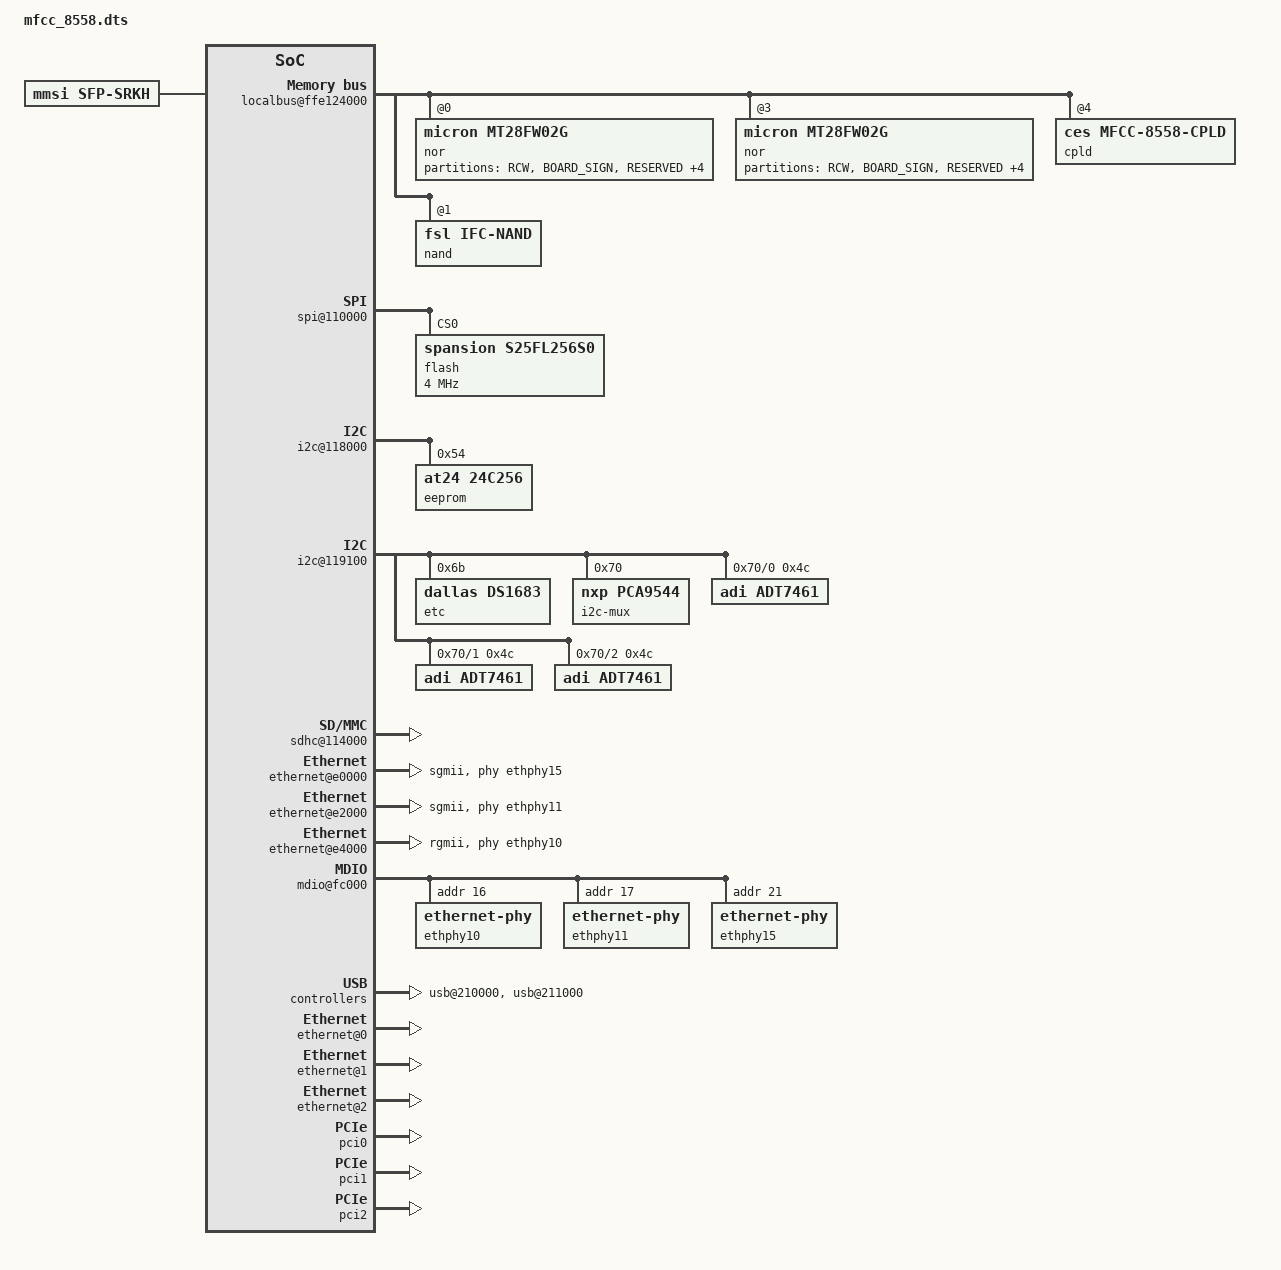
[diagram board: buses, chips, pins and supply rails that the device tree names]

/dts-v1/;

/include/ "mfcc_855x.dtsi"

/{
	chosen {
		bootargs = "console=ttyS0,115200";

		/* reserve 256MB for rootfs */
		linux,initrd-start = <0x6c000000>;
		linux,initrd-end =   <0x7bffffff>;
	};

	cpus {
		PowerPC,e6500@0 {
			clock-frequency = <1800000000>;
			timebase-frequency = <37500000>;
			bus-frequency = <600000000>;
		};
		PowerPC,e6500@1 {
			clock-frequency = <1800000000>;
			timebase-frequency = <37500000>;
			bus-frequency = <600000000>;
			enable-method = "spin-table";
			cpu-release-addr = <0 0xfffffc40>;
		};
		PowerPC,e6500@2 {
			clock-frequency = <1800000000>;
			timebase-frequency = <37500000>;
			bus-frequency = <600000000>;
			enable-method = "spin-table";
			cpu-release-addr = <0 0xfffffc80>;
		};
		PowerPC,e6500@3 {
			clock-frequency = <1800000000>;
			timebase-frequency = <37500000>;
			bus-frequency = <600000000>;
			enable-method = "spin-table";
			cpu-release-addr = <0 0xfffffcc0>;
		};
	};

	localbus@ffe124000 {

		/*        CS#   child          size */
		ranges = <
			/* NOR 256 MB */
			0 0 2 0xf0000000 0x10000000
			/* nand 4 GB */
			1 0 2 0x60000000 0x10000
			/* NOR 256 MB */
			3 0 2 0xb0000000 0x10000000
			/* BMC FPGA */
			4 0 2 0x70000000 0x100000>;

		/* IFC chip select configuration
		 *     CS# CSPR       CSOR       CSOR_EXT   AMASK
		 *         FTIM0      FTIM1      FTIM2      FTIM3
		 */
		config = <
			/* second NOR */
			3  0x0101     0x0000000c 0x00000000 0xf0000000
			   0x20020002 0x1A000A0A 0x02083810 0x00000000

			/* NAND */
			1  0x0083     0x9518c200 0x000001c0 0xffff0000
			   0x0e10070a 0x1c3d0d10 0x01a05025 0x1f000000
		>;

		/* 256 MB NOR flash, booting flash */
		nor@0,0 {
			compatible = "micron,mt28fw02g", "cfi-flash";
			bank-width = <2>;
			reg = <0 0 0x10000000>;
			#address-cells = <1>;
			#size-cells = <1>;
			multi-die-count = <2>;

			partition@0 {
				reg = <0 0x100000>;
				label = "RCW";
			};
			partition@100000 {
				reg = <0x100000 0x80000>;
				label = "BOARD_SIGN";

				/*
				 * The format of this is:
				 *  signature: 16 bytes ("CES")
				 *  module_type - 128 bytes
				 *  serial - 128 bytes
				 *  mac addresses - 3 addresses, in a hex
				 *     string format, with 4 bytes of padding.
				 *     total of 16 bytes for each address.
				 */
				macaddr: macaddr@110 {
					 #mtd-mac-address-cells = <1>;
					 mac-addr-string = <1>;
				};
			};
			partition@180000 {
				reg = <0x180000 0x200000>;
				label = "RESERVED";
			};
			partition@380000 {
				reg = <0x380000 0x40000>;
				label = "IMGT";
			};
			partition@3c0000 {
				reg = <0x3c0000 0x40000>;
				label = "VPKT";
			};
			partition@400000 {
				reg = <0x400000 0xfb00000>;
				label = "USER";
			};
			partition@ff00000 {
				reg = <0xff00000 0x100000>;
				label = "BL";
			};
		};

		/* 256 MB second NOR flash */
		nor@3,0 {
			compatible = "micron,mt28fw02g", "cfi-flash";
			bank-width = <2>;
			reg = <3 0 0x10000000>;
			#address-cells = <1>;
			#size-cells = <1>;
			multi-die-count = <2>;

			partition@0 {
				reg = <0 0x100000>;
				label = "RCW";
			};
			partition@100000 {
				reg = <0x100000 0x80000>;
				label = "BOARD_SIGN";
			};
			partition@180000 {
				reg = <0x180000 0x200000>;
				label = "RESERVED";
			};
			partition@380000 {
				reg = <0x380000 0x40000>;
				label = "IMGT";
			};
			partition@3c0000 {
				reg = <0x3c0000 0x40000>;
				label = "VPKT";
			};
			partition@400000 {
				reg = <0x400000 0xfb00000>;
				label = "USER";
			};
			partition@ff00000 {
				reg = <0xff00000 0x100000>;
				label = "BL";
			};
		};

		cpld@4,0 {
			compatible = "ces,mfcc-8558-cpld";
			reg = <4 0 0x100000>;
			status = "okay";
		};

		nand@1,0 {
			#address-cells = <1>;
			#size-cells = <1>;
			compatible = "fsl,ifc-nand";
			reg = <0x1 0x0 0x10000>;
		};
	};

	soc@ffe000000 {

		sfp-srkh {
			compatible = "mmsi,sfp-srkh";
		};

		spi@110000 {
			flash@0 {
				reg = <0>;
				compatible = "spansion,s25fl256s0", "jedec,spi-nor";
				spi-max-frequency = <4000000>;
				#address-cells = <1>;
				#size-cells = <1>;

			};
		};

		i2c@118000 {
			eeprom@54 {
				compatible = "at24,24c256";
				reg = <0x54>;
			};
		};

		i2c@119100 {
			etc@6b {
				compatible = "dallas,ds1683";
				reg = <0x6b>;
			};

			i2c-mux@70 {
				compatible = "nxp,pca9544";
				#address-cells = <1>;
				#size-cells = <0>;
				reg = <0x70>;

				i2c@0 {
					#address-cells = <1>;
					#size-cells = <0>;
					reg = <0>;

					adt7461@4c {
						compatible = "adi,adt7461";
						reg = <0x4c>;
					};
				};

				i2c@1 {
					#address-cells = <1>;
					#size-cells = <0>;
					reg = <1>;

					adt7461@4c {
						compatible = "adi,adt7461";
						reg = <0x4c>;
					};
				};

				i2c@2 {
					#address-cells = <1>;
					#size-cells = <0>;
					reg = <2>;

					adt7461@4c {
						compatible = "adi,adt7461";
						reg = <0x4c>;
					};
				};
			};
		};

		sdhc@114000 {
			clock-frequency = <300000000>;
			status = "okay";
		};
		fman@400000 {
			clock-frequency = <700000000>;
			fman-firmware {
				compatible = "fsl,fman-firmware";
				fsl,firmware = <
					/include/ "fman_fw.hex"
				>;
			};

			ethernet@e0000 {
				phy-handle = <&ethphy15>;
				phy-connection-type = "sgmii";
				mtd-mac-address = <&macaddr 0x110>;
				status = "okay";
			};
			ethernet@e2000 {
				phy-handle = <&ethphy11>;
				phy-connection-type = "sgmii";
				fixed-link = <1 1 1000 0 0>;
				mtd-mac-address = <&macaddr 0x120>;
				status = "okay";
			};
			ethernet@e4000 {
				phy-handle = <&ethphy10>;
				phy-connection-type = "rgmii";
				mtd-mac-address = <&macaddr 0x130>;
				status = "okay";
			};
			mdio@fc000 {
				status = "okay";
				ethphy10: ethernet-phy@10 {
					reg = <16>;
				};
				ethphy11: ethernet-phy@11 {
					reg = <17>;
				};
				ethphy15: ethernet-phy@15 {
					reg = <21>;
				};
			};
		};
		usb@210000 {
			status = "okay";
		};
		usb@211000 {
			status = "okay";
		};
		qman@318000 {
			clock-frequency = <300000000>;
			fsl,qman-fqd = <0 0x7e000000 0 0x1000000>;
			fsl,qman-pfdr = <0 0x7d000000 0 0x1000000>;
		};
		bman@31a000 {
			clock-frequency = <300000000>;
			fsl,bman-fbpr = <0 0x7c000000 0 0x1000000>;
		};
	};

	fsl,dpaa {
		ethernet@0 {
			status = "okay";
		};
		ethernet@1 {
			status = "okay";
		};
		ethernet@2 {
			status = "okay";
		};
	};

	pci0: pcie@ffe240000 {
		compatible = "fsl,t2080-pcie", "fsl,qoriq-pcie-v3.0", "fsl,qoriq-pcie";
		device_type = "pci";
		#size-cells = <2>;
		#address-cells = <3>;
		bus-range = <0 255>;
		interrupts = <20 2 0 0>;
		fsl,msi = <&msi0>;
		fsl,iommu-parent = <&pamu0>;

		reg = <0xf 0xfe240000 0x0 0x10000>;
		ranges = <0x01000000 0x00000000 0x00000000
		                     0x00000007 0x00000000
		                     0x00000000 0x00010000
		          /* PCIe0 I/O Space 0_0000_0000 -> 7_0000_0000 - 7_0000_ffff */
		          0x02000000 0x00000003 0x00000000
		                     0x00000003 0x00000000
		                     0x00000001 0x00000000
		          /* PCIe0 Mem Space 3_0000_0000 -> 3_0000_0000 - 3_ffff_ffff */
		          0x43000000 0x00000008 0x00000000
		                     0x00000008 0x00000000
		                     0x00000002 0x00000000>;
		          /* PCIe0 Pref. Mem 8_0000_0000 -> 8_0000_0000 - 9_ffff_ffff */

		pcie@0 {
			device_type = "pci";
			reg = <0 0 0 0 0>;
			#interrupt-cells = <1>;
			#size-cells = <2>;
			#address-cells = <3>;
			interrupts = <20 2 0 0>;
			interrupt-map-mask = <0xf800 0 0 7>;
			interrupt-map = </* IDSEL 0x0 */
			                 0000 0 0 1 &mpic 40 1 0 0
			                 0000 0 0 2 &mpic  1 1 0 0
			                 0000 0 0 3 &mpic  2 1 0 0
			                 0000 0 0 4 &mpic  3 1 0 0
			>;
			ranges = <0x01000000 0x00000000 0x00000000
			          0x01000000 0x00000000 0x00000000
			                     0x00000000 0x00010000
			          /* PCIe to PCIe transparent: I/O space */
			          0x02000000 0x00000003 0x00000000
			          0x02000000 0x00000003 0x00000000
			                     0x00000001 0x00000000
			          /* PCIe to PCIe transparent: memory space */
			          0x43000000 0x00000008 0x00000000
			          0x43000000 0x00000008 0x00000000
			                     0x00000002 0x00000000>;
			          /* PCIe to PCIe transparent: prefetchable memory space */
		};
	};

	pci1: pcie@ffe250000 {
		compatible = "fsl,t2080-pcie", "fsl,qoriq-pcie-v3.0", "fsl,qoriq-pcie";
		device_type = "pci";
		#size-cells = <2>;
		#address-cells = <3>;
		bus-range = <0 255>;
		interrupts = <21 2 0 0>;
		fsl,msi = <&msi1>;
		fsl,iommu-parent = <&pamu0>;

		reg = <0xf 0xfe250000 0x0 0x10000>;
		ranges = <0x01000000 0x00000000 0x00000000
		                     0x00000007 0x00010000
		                     0x00000000 0x00010000
		          /* PCIe0 I/O Space 0_0000_0000 -> 7_0001_0000 - 7_0001_ffff */
		          0x02000000 0x00000004 0x00000000
		                     0x00000004 0x00000000
		                     0x00000001 0x00000000
		          /* PCIe0 Mem Space 4_0000_0000 -> 4_0000_0000 - 4_ffff_ffff */
		          0x43000000 0x0000000a 0x00000000
		                     0x0000000a 0x00000000
		                     0x00000002 0x00000000>;
		          /* PCIe0 Pref. Mem a_0000_0000 -> a_0000_0000 - b_ffff_ffff */

		pcie@0 {
			device_type = "pci";
			reg = <0 0 0 0 0>;
			#interrupt-cells = <1>;
			#size-cells = <2>;
			#address-cells = <3>;
			interrupts = <21 2 0 0>;
			interrupt-map-mask = <0xf800 0 0 7>;
			interrupt-map = </* IDSEL 0x0 */
			                 0000 0 0 1 &mpic 41 1 0 0
			                 0000 0 0 2 &mpic  5 1 0 0
			                 0000 0 0 3 &mpic  6 1 0 0
			                 0000 0 0 4 &mpic  7 1 0 0
			>;
			ranges = <0x01000000 0x00000000 0x00000000
			          0x01000000 0x00000000 0x00000000
			                     0x00000000 0x00010000
			          /* PCIe to PCIe transparent: I/O space */
			          0x02000000 0x00000004 0x00000000
			          0x02000000 0x00000004 0x00000000
			                     0x00000001 0x00000000
			          /* PCIe to PCIe transparent: memory space */
			          0x43000000 0x0000000a 0x00000000
			          0x43000000 0x0000000a 0x00000000
			                     0x00000002 0x00000000>;
			          /* PCIe to PCIe transparent: prefetchable memory space */
		};
	};

	pci2: pcie@ffe260000 {
		compatible = "fsl,t2080-pcie", "fsl,qoriq-pcie-v3.0", "fsl,qoriq-pcie";
		device_type = "pci";
		#size-cells = <2>;
		#address-cells = <3>;
		bus-range = <0 255>;
		interrupts = <22 2 0 0>;
		fsl,msi = <&msi2>;
		fsl,iommu-parent = <&pamu0>;

		reg = <0xf 0xfe260000 0x0 0x10000>;
		ranges = <0x01000000 0x00000000 0x00000000
		                     0x00000007 0x00020000
		                     0x00000000 0x00010000
		          /* PCIe0 I/O Space 0_0000_0000 -> 7_0002_0000 - 7_0002_ffff */
		          0x02000000 0x00000005 0x00000000
		                     0x00000005 0x00000000
		                     0x00000001 0x00000000
		          /* PCIe0 Mem Space 5_0000_0000 -> 5_0000_0000 - 5_ffff_ffff */
		          0x43000000 0x0000000c 0x00000000
		                     0x0000000c 0x00000000
		                     0x00000002 0x00000000>;
		          /* PCIe0 Pref. Mem c_0000_0000 -> c_0000_0000 - d_ffff_ffff */
		pcie@0 {
			device_type = "pci";
			reg = <0 0 0 0 0>;
			#interrupt-cells = <1>;
			#size-cells = <2>;
			#address-cells = <3>;
			interrupts = <22 2 0 0>;
			interrupt-map-mask = <0xf800 0 0 7>;
			interrupt-map = < /* IDSEL 0x0 */
			                 0000 0 0 1 &mpic 42 1 0 0
			                 0000 0 0 2 &mpic  9 1 0 0
			                 0000 0 0 3 &mpic 10 1 0 0
			                 0000 0 0 4 &mpic 11 1 0 0
			>;
			ranges = <0x01000000 0x00000000 0x00000000
			          0x01000000 0x00000000 0x00000000
			                     0x00000000 0x00010000
			          /* PCIe to PCIe transparent: I/O space */
			          0x02000000 0x00000005 0x00000000
			          0x02000000 0x00000005 0x00000000
			                     0x00000001 0x00000000
			          /* PCIe to PCIe transparent: memory space */
			          0x43000000 0x0000000c 0x00000000
			          0x43000000 0x0000000c 0x00000000
			                     0x00000002 0x00000000>;
			          /* PCIe to PCIe transparent: prefetchable memory space */
		};
	};

	pci3: pcie@ffe270000 {
		compatible = "fsl,t2080-pcie", "fsl,qoriq-pcie-v3.0", "fsl,qoriq-pcie";
		device_type = "pci";
		#size-cells = <2>;
		#address-cells = <3>;
		bus-range = <0 255>;
		interrupts = <23 2 0 0>;
		fsl,msi = <&msi3>;
		fsl,iommu-parent = <&pamu0>;

		reg = <0xf 0xfe270000 0x0 0x10000>;
		ranges = <0x01000000 0x00000000 0x00000000
		                     0x00000007 0x00030000
		                     0x00000000 0x00010000
		          /* PCIe0 I/O Space 0_0000_0000 -> 7_0003_0000 - 7_0003_ffff */
		          0x02000000 0x00000006 0x00000000
		                     0x00000006 0x00000000
		                     0x00000001 0x00000000
		          /* PCIe0 Mem Space 6_0000_0000 -> 6_0000_0000 - 5_ffff_ffff */
		          0x43000000 0x0000000e 0x00000000
		                     0x0000000e 0x00000000
		                     0x00000001 0x00000000>;
		          /* PCIe0 Pref. Mem e_0000_0000 -> e_0000_0000 - e_ffff_ffff */
		pcie@0 {
			device_type = "pci";
			reg = <0 0 0 0 0>;
			#interrupt-cells = <1>;
			#size-cells = <2>;
			#address-cells = <3>;
			interrupts = <23 2 0 0>;
			interrupt-map-mask = <0xf800 0 0 7>;
			interrupt-map = < /* IDSEL 0x0 */
			                 0000 0 0 1 &mpic 43 1 0 0
			                 0000 0 0 2 &mpic  0 1 0 0
			                 0000 0 0 3 &mpic  4 1 0 0
			                 0000 0 0 4 &mpic  8 1 0 0
			>;
			ranges = <0x01000000 0x00000000 0x00000000
			          0x01000000 0x00000000 0x00000000
			                     0x00000000 0x00010000
			          /* PCIe to PCIe transparent: I/O space */
			          0x02000000 0x00000006 0x00000000
			          0x02000000 0x00000006 0x00000000
			                     0x00000001 0x00000000
			          /* PCIe to PCIe transparent: memory space */
			          0x43000000 0x0000000e 0x00000000
			          0x43000000 0x0000000e 0x00000000
			                     0x00000001 0x00000000>;
			          /* PCIe to PCIe transparent: prefetchable memory space */
		};
	};

	pcie@ffe240000 {
		ranges = </* PCIe0 I/O Space 0_0000_0000 -> 5_0000_0000 - 5_0000_ffff */
		          0x1000000  0          0
		                     5          0
		                     0    0x10000
		          /* PCIe0 Mem Space 0_c000_0000 -> 3_0000_0000 - 3_3fff_ffff */
		          0x2000000  0 0xc0000000
		                     3          0
		                     0 0x40000000
		          /* PCIe0 Pref. Mem 1_0000_0000 -> 6_0000_0000 - 7_ffff_ffff */
		          0x43000000 1          0
		                     6          0
		                     2          0>;
		/* This device can only DMA address the bottom 2GB of RAM. */
		dma-ranges = <0 0 0 0 0 0x80000000>;
		status = "okay";
	};
	pcie@ffe250000 {
		ranges = </* PCIe0 I/O Space 0_0000_0000 -> 5_0001_0000 - 5_0001_ffff */
		          0x1000000  0          0
		                     5    0x10000
		                     0    0x10000
		          /* PCIe0 Mem Space 0_c000_0000 -> 3_8000_0000 - 3_bfff_ffff */
		          0x2000000  0 0xc0000000
		                     3 0x80000000
		                     0 0x40000000
		          /* PCIe0 Pref. Mem 1_0000_0000 -> 8_0000_0000 - 9_ffff_ffff */
		          0x43000000 1          0
		                     8          0
		                     2          0>;
		/* This device can only DMA address the bottom 2GB of RAM. */
		dma-ranges = <0 0 0 0 0 0x80000000>;
		status = "okay";
	};
	pcie@ffe260000 {
		ranges = </* PCIe0 I/O Space 0_0000_0000 -> 5_0002_0000 - 5_0002_ffff */
		          0x1000000   0          0
		                      5    0x20000
		                      0    0x10000
		          /* PCIe0 Mem Space 0_c000_0000 -> 3_c000_0000 - 3_ffff_ffff */
		          0x2000000   0 0xc0000000
		                      4          0
		                      0 0x40000000
		          /* PCIe0 Pref. Mem 1_0000_0000 -> a_0000_0000 - b_ffff_ffff */
		          0x43000000  1          0
		                     10          0
		                      2          0>;
		/* This device can only DMA address the bottom 2GB of RAM. */
		dma-ranges = <0 0 0 0 0 0x80000000>;
		status = "okay";
	};
	pcie@ffe270000 {
		status = "disabled";
	};
};
